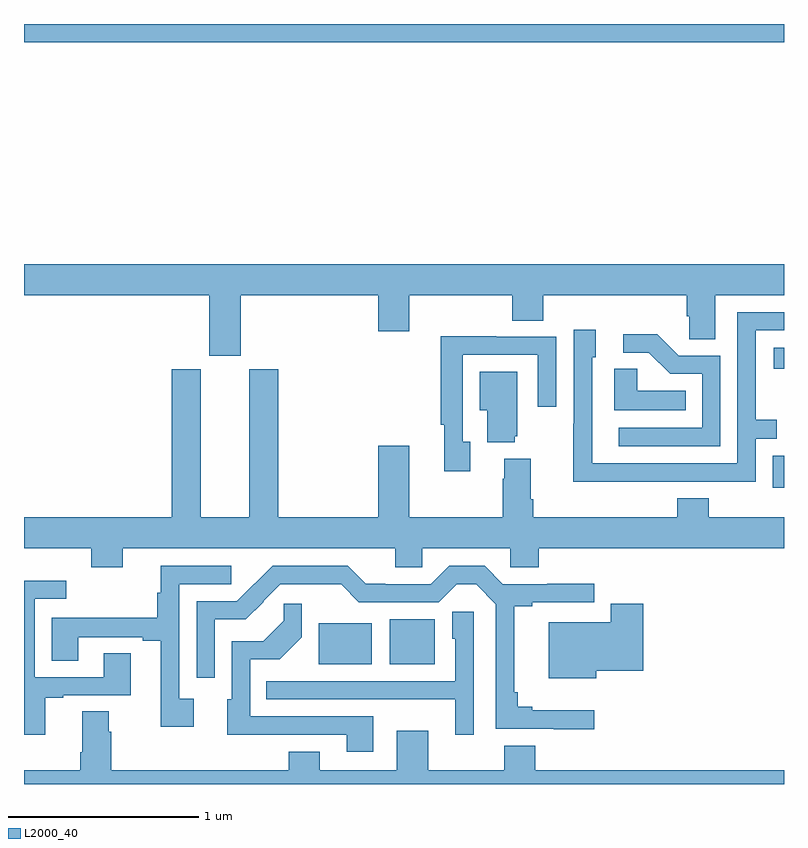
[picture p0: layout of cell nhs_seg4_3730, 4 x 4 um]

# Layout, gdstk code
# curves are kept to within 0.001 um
import gdstk
lib = gdstk.Library(unit=1e-6, precision=1e-09)
def R(c, l, rs):  # rectangles x0, y0, x1, y1
    for r in rs: c.add(gdstk.rectangle(r[:2], r[2:], *l))
def P(c, l, *ps):  # polygons
    for p in ps: c.add(gdstk.Polygon(p, *l))
L2000_40 = (2000, 40)

nhs_seg4_3730 = lib.new_cell('nhs_seg4_3730')
R(nhs_seg4_3730, L2000_40, [(308.552,809.531,308.83,809.746), (308.924,809.531,309.163,809.767), (310.941,810.459,311,810.627), (310.947,811.085,311,811.195), (307,812.804,311,812.9)])
P(nhs_seg4_3730, L2000_40, [(308.14,811.472),(308.864,811.472),(308.864,811.284),(309.028,811.284),(309.028,811.472),(309.569,811.472),(309.569,811.339),(309.734,811.339),(309.734,811.472),(310.487,811.472),(310.487,811.363),(310.5,811.363),(310.5,811.24),(310.639,811.24),(310.639,811.472),(311,811.472),(311,811.636),(307,811.636),(307,811.472),(307.976,811.472),(307.976,811.155),(308.14,811.155)],
  [(310.355,810.492),(310.851,810.492),(310.851,810.717),(310.961,810.717),(310.961,810.818),(310.851,810.818),(310.851,811.287),(311,811.287),(311,811.383),(310.755,811.383),(310.755,810.588),(309.99,810.588),(309.99,811.146),(310.009,811.146),(310.009,811.291),(309.894,811.291),(309.894,810.797),(309.892,810.797),(309.892,810.491),(310.355,810.491)],
  [(310.665,811.155),(310.446,811.155),(310.333,811.268),(310.155,811.268),(310.155,811.17),(310.289,811.17),(310.4,811.059),(310.569,811.059),(310.569,810.774),(310.131,810.774),(310.131,810.678),(310.665,810.678)],
  [(309.349,810.702),(309.309,810.702),(309.309,811.158),(309.705,811.158),(309.705,810.885),(309.801,810.885),(309.801,811.254),(309.485,811.254),(309.485,811.256),(309.193,811.256),(309.193,810.79),(309.212,810.79),(309.212,810.546),(309.349,810.546)],
  [(310.484,810.97),(310.227,810.97),(310.227,811.085),(310.106,811.085),(310.106,810.866),(310.484,810.866)],
  [(307.519,810.14),(308.954,810.14),(308.954,810.042),(309.096,810.042),(309.096,810.14),(309.558,810.14),(309.558,810.042),(309.71,810.042),(309.71,810.14),(311,810.14),(311,810.304),(310.604,810.304),(310.604,810.403),(310.439,810.403),(310.439,810.304),(309.68,810.304),(309.68,810.4),(309.667,810.4),(309.667,810.613),(309.527,810.613),(309.527,810.506),(309.52,810.506),(309.52,810.304),(309.028,810.304),(309.028,810.679),(308.864,810.679),(308.864,810.304),(308.339,810.304),(308.339,811.083),(308.186,811.083),(308.186,810.304),(307.93,810.304),(307.93,811.083),(307.778,811.083),(307.778,810.304),(307,810.304),(307,810.14),(307.355,810.14),(307.355,810.041),(307.519,810.041)],
  [(309.584,810.729),(309.595,810.729),(309.595,811.069),(309.398,811.069),(309.398,810.866),(309.437,810.866),(309.437,810.698),(309.584,810.698)],
  [(307.894,809.35),(307.818,809.35),(307.818,809.952),(308.091,809.952),(308.091,810.048),(307.721,810.048),(307.721,809.906),(307.702,809.906),(307.702,809.774),(307.145,809.774),(307.145,809.548),(307.285,809.548),(307.285,809.673),(307.625,809.673),(307.625,809.653),(307.721,809.653),(307.721,809.202),(307.894,809.202)],
  [(310,809.287),(309.676,809.287),(309.676,809.306),(309.599,809.306),(309.599,809.383),(309.581,809.383),(309.581,809.836),(309.676,809.836),(309.676,809.856),(310,809.856),(310,809.954),(309.753,809.954),(309.753,809.952),(309.52,809.952),(309.424,810.048),(309.237,810.048),(309.141,809.952),(308.902,809.952),(308.902,809.954),(308.798,809.954),(308.703,810.048),(308.309,810.048),(308.121,809.862),(307.908,809.862),(307.908,809.46),(308.004,809.46),(308.004,809.766),(308.167,809.766),(308.261,809.86),(308.259,809.862),(308.349,809.952),(308.669,809.951),(308.763,809.856),(309.183,809.856),(309.278,809.951),(309.379,809.951),(309.483,809.847),(309.483,809.19),(310,809.189)],
  [(307.111,809.355),(307.207,809.355),(307.207,809.367),(307.561,809.367),(307.561,809.588),(307.421,809.588),(307.421,809.463),(307.056,809.463),(307.056,809.874),(307.222,809.874),(307.222,809.971),(307,809.971),(307,809.16),(307.111,809.16)],
  [(310.012,809.495),(310.259,809.495),(310.259,809.848),(310.088,809.848),(310.088,809.752),(309.761,809.752),(309.761,809.456),(310.012,809.456)],
  [(308.839,809.256),(308.19,809.256),(308.19,809.556),(308.347,809.556),(308.463,809.672),(308.463,809.848),(308.368,809.848),(308.368,809.76),(308.26,809.652),(308.094,809.652),(308.094,809.346),(308.069,809.346),(308.069,809.159),(308.699,809.16),(308.699,809.07),(308.839,809.07)],
  [(309.366,809.807),(309.254,809.807),(309.254,809.664),(309.27,809.664),(309.27,809.442),(308.275,809.442),(308.275,809.346),(308.935,809.346),(308.935,809.345),(309.269,809.345),(309.269,809.16),(309.366,809.16)],
  [(311,808.972),(309.691,808.972),(309.691,809.101),(309.527,809.101),(309.527,808.972),(309.127,808.972),(309.127,809.179),(308.963,809.179),(308.963,808.972),(308.557,808.972),(308.557,809.071),(308.393,809.071),(308.393,808.972),(307.46,808.972),(307.46,809.174),(307.447,809.174),(307.447,809.282),(307.307,809.282),(307.307,809.068),(307.295,809.068),(307.295,808.972),(307,808.972),(307,808.9),(311,808.9)])

lib.write_gds('nhs_seg4_3730.gds')
